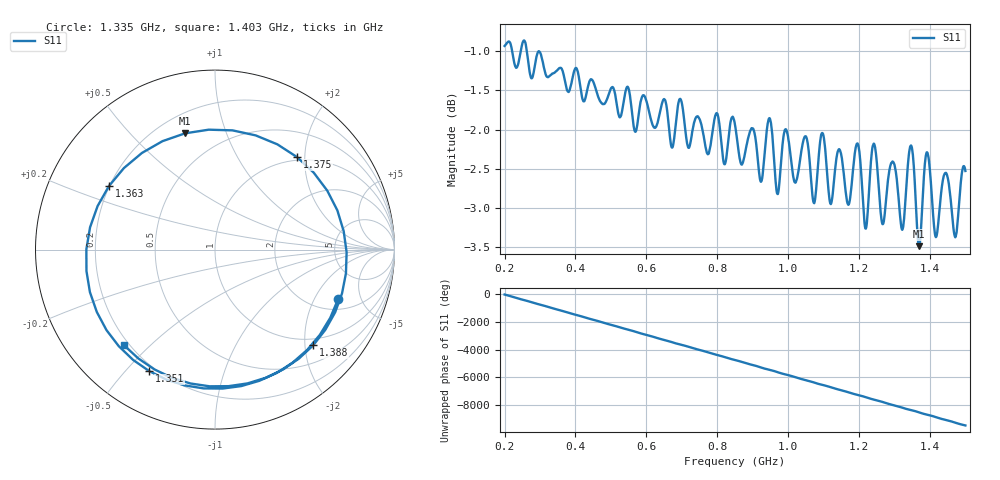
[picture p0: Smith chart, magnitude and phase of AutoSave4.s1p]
!Agilent N9923A: A.05.17
!Date: Sunday, 01 January 2006 13:16:05
!Model: N9923A
!Serial: MY50371189
!CHECKSUM:1486459409
!Correction: S11(ON U)
!S1P File: Measurement: S11:
# Hz S RI R 50
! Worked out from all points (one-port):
!   1001 points, 200 MHz to 1.5 GHz, reference 50 ohm
!   lowest |S11| = -3.5 dB at 1.369 GHz (marker M1), VSWR 5.04, Z = 15.5 + j36.4 ohm
!   |S11| at or under -10 dB: nowhere
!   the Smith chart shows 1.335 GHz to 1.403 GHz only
!   S11 on the Smith chart (normalised r, x): 1.335 GHz: 2.58, -3.15; 1.351 GHz: 0.18, -0.58; 1.363 GHz: 0.20, +0.27; 1.375 GHz: 0.94, +1.84; 1.388 GHz: 0.85, -2.18; 1.403 GHz: 0.18, -0.41
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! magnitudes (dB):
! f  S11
! 200 MHz  -0.9
! 362.5 MHz  -1.2
! 525 MHz  -1.8
! 687.5 MHz  -1.7
! 850 MHz  -1.9
! 1.012 GHz  -2.6
! 1.049 GHz  -2.1
! 1.074 GHz  -2.9
! 1.097 GHz  -2.0
! 1.119 GHz  -2.9
! 1.144 GHz  -2.3
! 1.175 GHz  -2.9
! 1.194 GHz  -2.2
! 1.218 GHz  -3.3
! 1.241 GHz  -2.2
! 1.266 GHz  -3.2
! 1.292 GHz  -2.4
! 1.321 GHz  -3.3
! 1.335 GHz  -2.6
! 1.337 GHz  -2.5
! 1.351 GHz  -2.3
! 1.363 GHz  -3.2
! 1.369 GHz  -3.5
! 1.375 GHz  -3.2
! 1.388 GHz  -2.3
! 1.403 GHz  -2.7
! 1.471 GHz  -3.4
! 1.5 GHz  -2.5
